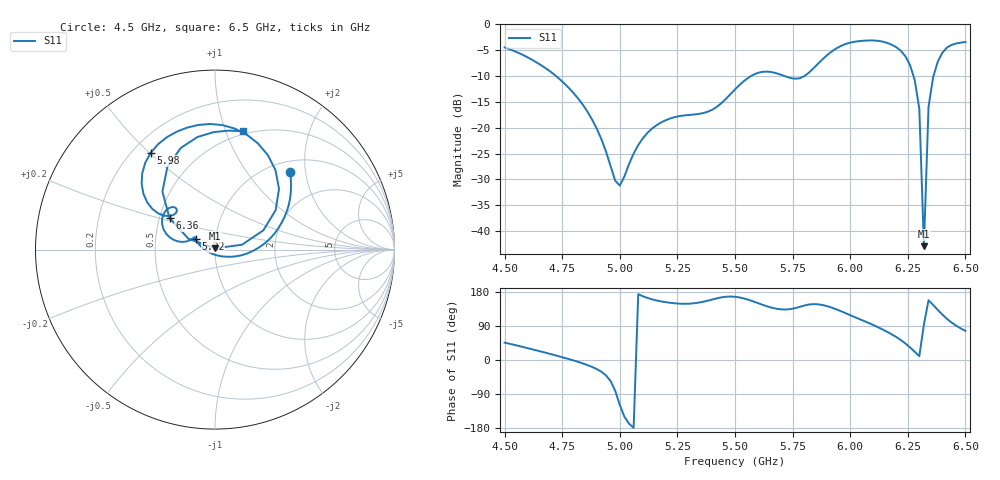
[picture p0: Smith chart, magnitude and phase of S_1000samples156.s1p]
! TOUCHSTONE file generated by CST MICROWAVE STUDIO
! Date and time: Thu Oct 27 04:39:52 2022
! Project name: L.cst
! Parameters = {Di=1.27; Epsilon_r=1.56; InnerDiameter=1.27; Length=2; Lf=10; Lg=60; OuterConductorThickness=0.2921; OuterDiameter=3.6; Wf=3; Wp=41.2; de=1.5; df=6.8; g=0.8; gx=1.90407; gy=1.51128; h=2.34; hf=1.524; px=13.2833; py=11.0351; w=9.7; wx=11.3793; wy=9.5238}
! Header version: 2018
! Port assignment regex: !\s*Touchstone port\s*([0-9]+)\s*=\s*(CST MWS port|CST DS port)\s*([0-9]+|Zmin|Zmax)\s*\(\"(.*)\"\)(\s*mode\s*([0-9]+))?.*
! Touchstone port assignment:
! Touchstone port 1 = CST MWS port 1 ("")
# GHz S DB R 50
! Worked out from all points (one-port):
!   101 points, 4.5 GHz to 6.5 GHz, reference 50 ohm
!   lowest |S11| = -42.9 dB at 6.32 GHz (marker M1), VSWR 1.01, Z = 50 + j0.712 ohm
!   |S11| at or under -10 dB: 4.724 GHz to 5.569 GHz (845.6 MHz wide, 16.4 % of centre); 5.716 GHz to 5.801 GHz (84.46 MHz wide, 1.47 % of centre); 6.275 GHz to 6.361 GHz (86.73 MHz wide, 1.37 % of centre)
!   S11 on the Smith chart (normalised r, x): 4.5 GHz: 1.22, +1.65; 5.22 GHz: 0.80, +0.10; 5.98 GHz: 0.27, +0.51; 6.36 GHz: 0.56, +0.22; 6.5 GHz: 0.47, +1.15
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4.5  -4.42 45.8
4.76  -11.46 5.7
4.88  -18.43 -18.4
4.98  -30.25 -81.2
5  -31.19 -118.5
5.1  -22.04 168.2
5.22  -18.18 150.9
5.26  -17.73 148.7
5.4  -16.54 159.4
5.5  -12.58 166.8
5.62  -9.16 145.6
5.76  -10.50 136.6
5.86  -7.61 147.0
5.92  -5.22 138.2
5.98  -3.77 123.6
6  -3.51 118.3
6.08  -3.09 97.8
6.14  -3.31 80.7
6.2  -4.40 60.7
6.26  -7.89 33.0
6.28  -10.76 21.7
6.3  -16.33 10.2
6.32  -42.92 93.5
6.34  -15.94 157.8
6.36  -10.21 145.2
6.38  -7.21 132.2
6.42  -4.47 108.6
6.5  -3.38 76.8
